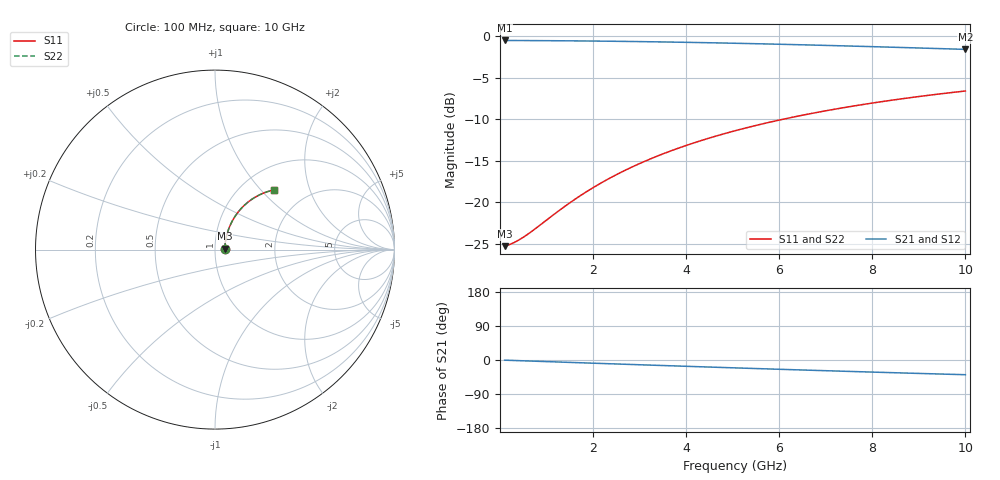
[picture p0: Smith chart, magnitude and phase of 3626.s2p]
# Hz S RI R 50.00
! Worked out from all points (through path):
!   100 points, 100 MHz to 10 GHz, reference 50 ohm
!   highest |S21| = -0.48 dB at 100 MHz (marker M1); lowest = -1.6 dB at 10 GHz (marker M2)
!   group delay of S21, straight-line fit = 10.8 ps
!   lowest |S11| = -25.3 dB at 100 MHz (marker M3), VSWR 1.11, Z = 55.7 + j0.569 ohm
!   |S11| at or under -10 dB: start of sweep to 6.079 GHz
!   |S22| runs from -25.3 to -6.6 dB; largest |S21 - S12| = 0
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1e8  0.0539 0.00509  0.946 -0.00697  0.946 -0.00697  0.0539 0.00509
2e8  0.0544 0.0102  0.9456 -0.0139  0.9456 -0.0139  0.0544 0.0102
3e8  0.0548 0.0152  0.9451 -0.0209  0.9451 -0.0209  0.0548 0.0152
4e8  0.0553 0.0203  0.9447 -0.0278  0.9447 -0.0278  0.0553 0.0203
5e8  0.0558 0.0254  0.9441 -0.0348  0.9441 -0.0348  0.0558 0.0254
7e8  0.057 0.0355  0.9429 -0.0486  0.9429 -0.0486  0.057 0.0355
1.4e9  0.0631 0.0703  0.9365 -0.0967  0.9365 -0.0967  0.0631 0.0703
1.8e9  0.0681 0.0898  0.9313 -0.1237  0.9313 -0.1237  0.0681 0.0898
2.2e9  0.0742 0.1089  0.9249 -0.1504  0.9249 -0.1504  0.0742 0.1089
2.6e9  0.0813 0.1275  0.9174 -0.1765  0.9174 -0.1765  0.0813 0.1275
3e9  0.0894 0.1456  0.9089 -0.2022  0.9089 -0.2022  0.0894 0.1456
3.4e9  0.0984 0.1631  0.8994 -0.2272  0.8994 -0.2272  0.0984 0.1631
3.8e9  0.1084 0.1798  0.8889 -0.2516  0.8889 -0.2516  0.1084 0.1798
4.2e9  0.1192 0.1959  0.8775 -0.2752  0.8775 -0.2752  0.1192 0.1959
4.6e9  0.1308 0.2112  0.8653 -0.2982  0.8653 -0.2982  0.1308 0.2112
5.1e9  0.1462 0.2292  0.8489 -0.3257  0.8489 -0.3257  0.1462 0.2292
5.9e9  0.1729 0.2552  0.8206 -0.3669  0.8206 -0.3669  0.1729 0.2552
6.7e9  0.2016 0.2777  0.79 -0.4048  0.79 -0.4048  0.2016 0.2777
7.5e9  0.2318 0.2965  0.7577 -0.439  0.7577 -0.439  0.2318 0.2965
8.4e9  0.2668 0.3134  0.7199 -0.4734  0.7199 -0.4734  0.2668 0.3134
9.2e9  0.2983 0.3247  0.6856 -0.5003  0.6856 -0.5003  0.2983 0.3247
1e10  0.3299 0.3327  0.651 -0.524  0.651 -0.524  0.3299 0.3327
